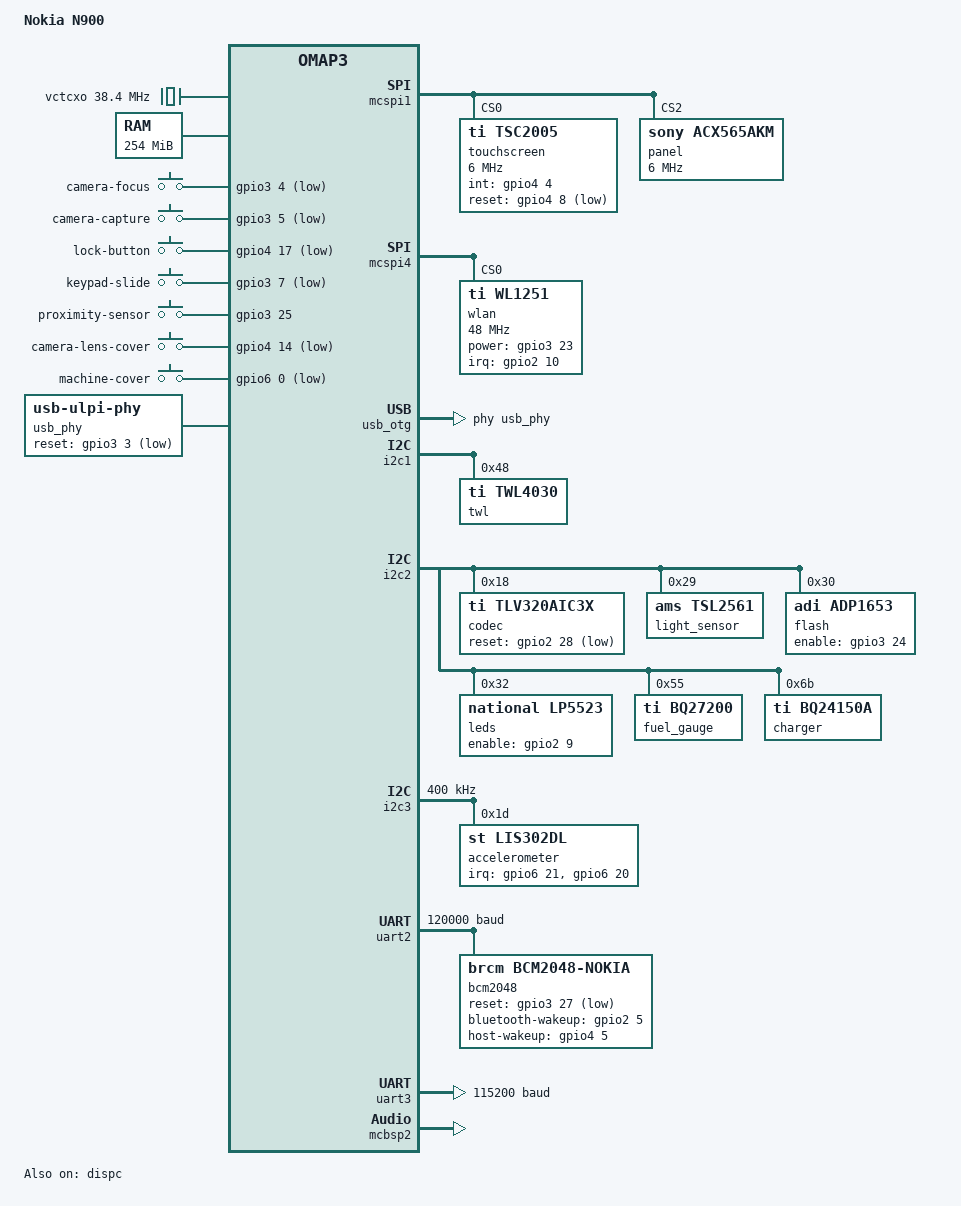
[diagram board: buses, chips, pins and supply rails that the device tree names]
/*
 * Copyright The Zephyr Project Contributors
 * Copyright (c) 2026 Silicon Laboratories Inc.
 *
 * SPDX-License-Identifier: Apache-2.0
 */

/dts-v1/;

#include <ti/omap3430.dtsi>
#include <zephyr/dt-bindings/input/input-event-codes.h>
#include <zephyr/dt-bindings/input/keymap.h>
#include <zephyr/dt-bindings/gpio/gpio.h>
#include <zephyr/dt-bindings/pinctrl/ti-omap3-pinctrl.h>

/ {
	model = "Nokia N900";
	compatible = "nokia,omap3-n900", "ti,omap3430", "ti,omap3";

	chosen {
		zephyr,sram = &sdram0;
		zephyr,display = &dispc;
		zephyr,bt-hci = &bcm2048;
		zephyr,entropy = &rom_rng;
	};

	/* The RNG module itself is not accessible on this high-security device */
	rom_rng: rng {
		compatible = "nokia,n900-rom-rng";
	};

	/* System clock of the Bluetooth controller, which switches it itself */
	vctcxo: vctcxo {
		compatible = "fixed-clock";
		#clock-cells = <0>;
		clock-frequency = <38400000>;
	};

	sdram0: memory@80000000 {
		device_type = "memory";
		compatible = "mmio-sram";
		reg = <0x80000000 DT_SIZE_M(254)>;
	};

	gpio-keys {
		compatible = "gpio-keys";

		camera-focus {
			gpios = <&gpio3 4 GPIO_ACTIVE_LOW>; /* GPIO 68 */
			zephyr,code = <INPUT_KEY_CAMERA_FOCUS>;
		};

		camera-capture {
			gpios = <&gpio3 5 GPIO_ACTIVE_LOW>; /* GPIO 69 */
			zephyr,code = <INPUT_KEY_CAMERA>;
		};

		lock-button {
			gpios = <&gpio4 17 GPIO_ACTIVE_LOW>; /* GPIO 113 */
			zephyr,code = <INPUT_KEY_COFFEE>;
		};

		keypad-slide {
			gpios = <&gpio3 7 GPIO_ACTIVE_LOW>; /* GPIO 71 */
			zephyr,code = <INPUT_SW_KEYPAD_SLIDE>;
			zephyr,input-type = <INPUT_EV_SW>;
		};

		proximity-sensor {
			gpios = <&gpio3 25 GPIO_ACTIVE_HIGH>; /* GPIO 89 */
			zephyr,code = <INPUT_SW_FRONT_PROXIMITY>;
			zephyr,input-type = <INPUT_EV_SW>;
		};

		camera-lens-cover {
			gpios = <&gpio4 14 GPIO_ACTIVE_LOW>; /* GPIO 110 */
			zephyr,code = <INPUT_SW_CAMERA_LENS_COVER>;
			zephyr,input-type = <INPUT_EV_SW>;
		};

		machine-cover {
			gpios = <&gpio6 0 GPIO_ACTIVE_LOW>; /* GPIO 160 */
			zephyr,code = <INPUT_SW_MACHINE_COVER>;
			zephyr,input-type = <INPUT_EV_SW>;
		};
	};

	lvgl_pointer {
		compatible = "zephyr,lvgl-pointer-input";
		input = <&touchscreen>;
	};

	/* ISP1707, enabled while GPIO 67 is high */
	usb_phy: usb-phy {
		compatible = "usb-ulpi-phy";
		#phy-cells = <0>;
		reset-gpios = <&gpio3 3 GPIO_ACTIVE_LOW>; /* GPIO 67 */
	};

	reserved-memory {
		#address-cells = <1>;
		#size-cells = <1>;
		ranges;

		fb_mem: framebuffer@8fe00000 {
			reg = <0x8fe00000 DT_SIZE_M(2)>;
		};
	};
};

/* SYS_CLK, from the 19.2 MHz oscillator */
&gptimer1 {
	clock-frequency = <DT_FREQ_K(19200)>;
};

&gpio2 {
	status = "okay";
};

&gpio3 {
	status = "okay";
};

&gpio4 {
	status = "okay";
};

&gpio6 {
	status = "okay";
};

&pinctrl {
	mcspi1_clk_default: mcspi1_clk_default {
		pinmux = <OMAP3_PINMUX(0x21c8, PIN_INPUT, MUX_MODE_0)>;
	};

	mcspi1_simo_default: mcspi1_simo_default {
		pinmux = <OMAP3_PINMUX(0x21ca, PIN_OUTPUT, MUX_MODE_0)>;
	};

	mcspi1_somi_default: mcspi1_somi_default {
		pinmux = <OMAP3_PINMUX(0x21cc, PIN_INPUT_PULLDOWN, MUX_MODE_0)>;
	};

	mcspi1_cs0_default: mcspi1_cs0_default {
		pinmux = <OMAP3_PINMUX(0x21ce, PIN_OUTPUT, MUX_MODE_0)>;
	};

	mcspi1_cs2_default: mcspi1_cs2_default {
		pinmux = <OMAP3_PINMUX(0x21d2, PIN_OUTPUT, MUX_MODE_0)>;
	};

	uart2_cts_default: uart2_cts_default {
		pinmux = <OMAP3_PINMUX(0x2174, PIN_INPUT_PULLUP, MUX_MODE_0)>;
	};

	uart2_rts_default: uart2_rts_default {
		pinmux = <OMAP3_PINMUX(0x2176, PIN_OUTPUT, MUX_MODE_0)>;
	};

	uart2_tx_default: uart2_tx_default {
		pinmux = <OMAP3_PINMUX(0x2178, PIN_OUTPUT, MUX_MODE_0)>;
	};

	uart2_rx_default: uart2_rx_default {
		pinmux = <OMAP3_PINMUX(0x217a, PIN_INPUT, MUX_MODE_0)>;
	};

	/* GPIO 37 on gpmc_a4, set to GPIO here rather than left to the bootloader */
	bt_wakeup_default: bt_wakeup_default {
		pinmux = <OMAP3_PINMUX(0x2080, PIN_OUTPUT, MUX_MODE_4)>;
	};

	mcspi4_clk_default: mcspi4_clk_default {
		pinmux = <OMAP3_PINMUX(0x218c, PIN_INPUT_PULLDOWN, MUX_MODE_1)>;
	};

	mcspi4_simo_default: mcspi4_simo_default {
		pinmux = <OMAP3_PINMUX(0x2190, PIN_OUTPUT, MUX_MODE_1)>;
	};

	mcspi4_somi_default: mcspi4_somi_default {
		pinmux = <OMAP3_PINMUX(0x2192, PIN_INPUT_PULLDOWN, MUX_MODE_1)>;
	};

	mcspi4_cs0_default: mcspi4_cs0_default {
		pinmux = <OMAP3_PINMUX(0x2196, PIN_OUTPUT, MUX_MODE_1)>;
	};

	/* GPIO 87 */
	wlan_power_default: wlan_power_default {
		pinmux = <OMAP3_PINMUX(0x20fe, PIN_OUTPUT, MUX_MODE_4)>;
	};

	/* GPIO 42 */
	wlan_irq_default: wlan_irq_default {
		pinmux = <OMAP3_PINMUX(0x208a, PIN_INPUT, MUX_MODE_4)>;
	};
};

&mcspi1 {
	status = "okay";
	pinctrl-0 = <&mcspi1_clk_default &mcspi1_simo_default &mcspi1_somi_default
		     &mcspi1_cs0_default &mcspi1_cs2_default>;
	pinctrl-names = "default";

	touchscreen: touchscreen@0 {
		compatible = "ti,tsc2005";
		reg = <0>;
		spi-max-frequency = <DT_FREQ_M(6)>;
		int-gpios = <&gpio4 4 GPIO_ACTIVE_HIGH>; /* GPIO 100 */
		reset-gpios = <&gpio4 8 GPIO_ACTIVE_LOW>; /* GPIO 104 */
		ti,x-plate-ohms = <280>;
		/* Raw samples at the screen edges; Y grows towards the top */
		min-x = <204>;
		max-x = <3897>;
		min-y = <178>;
		max-y = <3763>;
		inverted-y;
		ti,esd-recovery-timeout-ms = <8000>;
		screen-width = <4096>;
		screen-height = <4096>;
		display = <&dispc>;
	};

	panel: panel@2 {
		compatible = "sony,acx565akm";
		reg = <2>;
		spi-max-frequency = <DT_FREQ_M(6)>;
	};
};

/* WL1251 WLAN, the only device on this bus: its two GPIO pads ride along */
&mcspi4 {
	status = "okay";
	pinctrl-0 = <&mcspi4_clk_default &mcspi4_simo_default &mcspi4_somi_default
		     &mcspi4_cs0_default &wlan_power_default &wlan_irq_default>;
	pinctrl-names = "default";

	wlan: wifi@0 {
		compatible = "ti,wl1251";
		reg = <0>;
		spi-max-frequency = <DT_FREQ_M(48)>;
		spi-cpol;
		spi-cpha;
		power-gpios = <&gpio3 23 GPIO_ACTIVE_HIGH>; /* GPIO 87 */
		irq-gpios = <&gpio2 10 GPIO_ACTIVE_HIGH>; /* GPIO 42 */
	};
};

zephyr_udc0: &usb_otg {
	status = "okay";
	phys = <&usb_phy>;
	maximum-speed = "high-speed";
};

&i2c1 {
	status = "okay";

	twl: pmic@48 {
		compatible = "ti,twl4030";
		reg = <0x48>;
		/* INT1 on sys_nirq */
		interrupts = <7 0>;

		keypad {
			compatible = "ti,twl4030-keypad";
			row-size = <8>;
			col-size = <8>;

			keymap {
				compatible = "input-keymap";
				row-size = <8>;
				/* Column 8: rows that read as tied to ground */
				col-size = <9>;
				keymap = <
					MATRIX_KEY(0, 0, INPUT_KEY_Q)
					MATRIX_KEY(0, 1, INPUT_KEY_O)
					MATRIX_KEY(0, 2, INPUT_KEY_P)
					MATRIX_KEY(0, 3, INPUT_KEY_COMMA)
					MATRIX_KEY(0, 4, INPUT_KEY_BACKSPACE)
					MATRIX_KEY(0, 6, INPUT_KEY_A)
					MATRIX_KEY(0, 7, INPUT_KEY_S)
					MATRIX_KEY(1, 0, INPUT_KEY_W)
					MATRIX_KEY(1, 1, INPUT_KEY_D)
					MATRIX_KEY(1, 2, INPUT_KEY_F)
					MATRIX_KEY(1, 3, INPUT_KEY_G)
					MATRIX_KEY(1, 4, INPUT_KEY_H)
					MATRIX_KEY(1, 5, INPUT_KEY_J)
					MATRIX_KEY(1, 6, INPUT_KEY_K)
					MATRIX_KEY(1, 7, INPUT_KEY_L)
					MATRIX_KEY(2, 0, INPUT_KEY_E)
					MATRIX_KEY(2, 1, INPUT_KEY_DOT)
					MATRIX_KEY(2, 2, INPUT_KEY_UP)
					MATRIX_KEY(2, 3, INPUT_KEY_ENTER)
					MATRIX_KEY(2, 5, INPUT_KEY_Z)
					MATRIX_KEY(2, 6, INPUT_KEY_X)
					MATRIX_KEY(2, 7, INPUT_KEY_C)
					MATRIX_KEY(2, 8, INPUT_KEY_F9)
					MATRIX_KEY(3, 0, INPUT_KEY_R)
					MATRIX_KEY(3, 1, INPUT_KEY_V)
					MATRIX_KEY(3, 2, INPUT_KEY_B)
					MATRIX_KEY(3, 3, INPUT_KEY_N)
					MATRIX_KEY(3, 4, INPUT_KEY_M)
					MATRIX_KEY(3, 5, INPUT_KEY_SPACE)
					MATRIX_KEY(3, 6, INPUT_KEY_SPACE)
					MATRIX_KEY(3, 7, INPUT_KEY_LEFT)
					MATRIX_KEY(4, 0, INPUT_KEY_T)
					MATRIX_KEY(4, 1, INPUT_KEY_DOWN)
					MATRIX_KEY(4, 2, INPUT_KEY_RIGHT)
					MATRIX_KEY(4, 4, INPUT_KEY_LEFTCTRL)
					MATRIX_KEY(4, 5, INPUT_KEY_RIGHTALT)
					MATRIX_KEY(4, 6, INPUT_KEY_LEFTSHIFT)
					MATRIX_KEY(4, 8, INPUT_KEY_F10)
					MATRIX_KEY(5, 0, INPUT_KEY_Y)
					MATRIX_KEY(5, 8, INPUT_KEY_F11)
					MATRIX_KEY(6, 0, INPUT_KEY_U)
					MATRIX_KEY(7, 0, INPUT_KEY_I)
					MATRIX_KEY(7, 1, INPUT_KEY_F7)
					MATRIX_KEY(7, 2, INPUT_KEY_F8)
				>;
			};
		};

		power-button {
			compatible = "ti,twl4030-pwrbutton";
		};

		twl_gpio: gpio {
			compatible = "ti,twl4030-gpio";
			gpio-controller;
			#gpio-cells = <2>;
			ngpios = <18>;
		};

		vibrator: vibrator {
			compatible = "ti,twl4030-vibra";
			duty-cycle-percent = <80>;
		};
	};
};

&i2c2 {
	status = "okay";

	/*
	 * Primary half of the TLV320AIC34 codec. Its MCLK is the 19.2 MHz
	 * system clock; HPLOUT/HPROUT and the COM outputs feed the speaker
	 * amplifier, enabled by TWL GPIO 7.
	 */
	codec: audio-codec@18 {
		compatible = "ti,tlv320aic3x";
		reg = <0x18>;
		reset-gpios = <&gpio2 28 GPIO_ACTIVE_LOW>; /* GPIO 60 */
		hp-out;
	};

	/* TSL2563 behind the front glass, next to the earpiece */
	light_sensor: light-sensor@29 {
		compatible = "ams,tsl2561";
		reg = <0x29>;
		gain = <16>;
		integration-time = <402>;
		/* The front glass passes about 1/16 of the light, as in Linux */
		glass-attenuation = <1600000>;
	};

	/* Camera flash: a white LED next to the main camera */
	flash: flash-led@30 {
		compatible = "adi,adp1653";
		reg = <0x30>;
		enable-gpios = <&gpio3 24 GPIO_ACTIVE_HIGH>; /* GPIO 88 */
		torch-max-microamp = <50000>;
		flash-max-microamp = <320000>;
		flash-timeout-us = <500000>;
	};

	/*
	 * Channels 0-3, 7 and 8 light the keyboard; 4, 5 and 6 are the blue,
	 * green and red of the status LED.
	 */
	leds: led-controller@32 {
		compatible = "national,lp5523";
		reg = <0x32>;
		enable-gpios = <&gpio2 9 GPIO_ACTIVE_HIGH>; /* GPIO 41 */
		current-microamp = <5000>;
	};

	fuel_gauge: fuel-gauge@55 {
		compatible = "ti,bq27200";
		reg = <0x55>;
	};

	charger: charger@6b {
		compatible = "ti,bq24150a";
		reg = <0x6b>;
		constant-charge-current-max-microamp = <650000>;
		constant-charge-voltage-max-microvolt = <4200000>;
		charge-term-current-microamp = <100000>;
		input-current-limit-microamp = <500000>;
		ti,sense-resistor-micro-ohms = <68000>;
	};
};

&i2c3 {
	status = "okay";
	clock-frequency = <I2C_BITRATE_FAST>;

	accelerometer: accelerometer@1d {
		compatible = "st,lis302dl";
		reg = <0x1d>;
		irq-gpios = <&gpio6 21 GPIO_ACTIVE_HIGH>, /* GPIO 181, INT1 */
			    <&gpio6 20 GPIO_ACTIVE_HIGH>; /* GPIO 180, INT2 */
	};
};

&dispc {
	status = "okay";
	width = <800>;
	height = <480>;
	memory-region = <&fb_mem>;
	display-controller = <&panel>;
};

/* BCM2048 Bluetooth and FM radio, speaking Nokia's H4+ */
&uart2 {
	status = "okay";
	/* The speed out of reset: faster needs the UART's 13x mode */
	current-speed = <120000>;
	pinctrl-0 = <&uart2_cts_default &uart2_rts_default &uart2_tx_default &uart2_rx_default>;
	pinctrl-names = "default";

	bcm2048: bluetooth {
		compatible = "brcm,bcm2048-nokia", "nokia,h4p-bluetooth";
		reset-gpios = <&gpio3 27 GPIO_ACTIVE_LOW>; /* GPIO 91 */
		bluetooth-wakeup-gpios = <&gpio2 5 GPIO_ACTIVE_HIGH>; /* GPIO 37 */
		host-wakeup-gpios = <&gpio4 5 GPIO_ACTIVE_HIGH>; /* GPIO 101 */
		clocks = <&vctcxo>;
		pinctrl-0 = <&bt_wakeup_default>;
		pinctrl-names = "default";
	};
};

/* Test pads under the battery, 1.8 V */
&uart3 {
	status = "okay";
	current-speed = <115200>;
};

/* Audio serial port to the codec */
&mcbsp2 {
	status = "okay";
};
